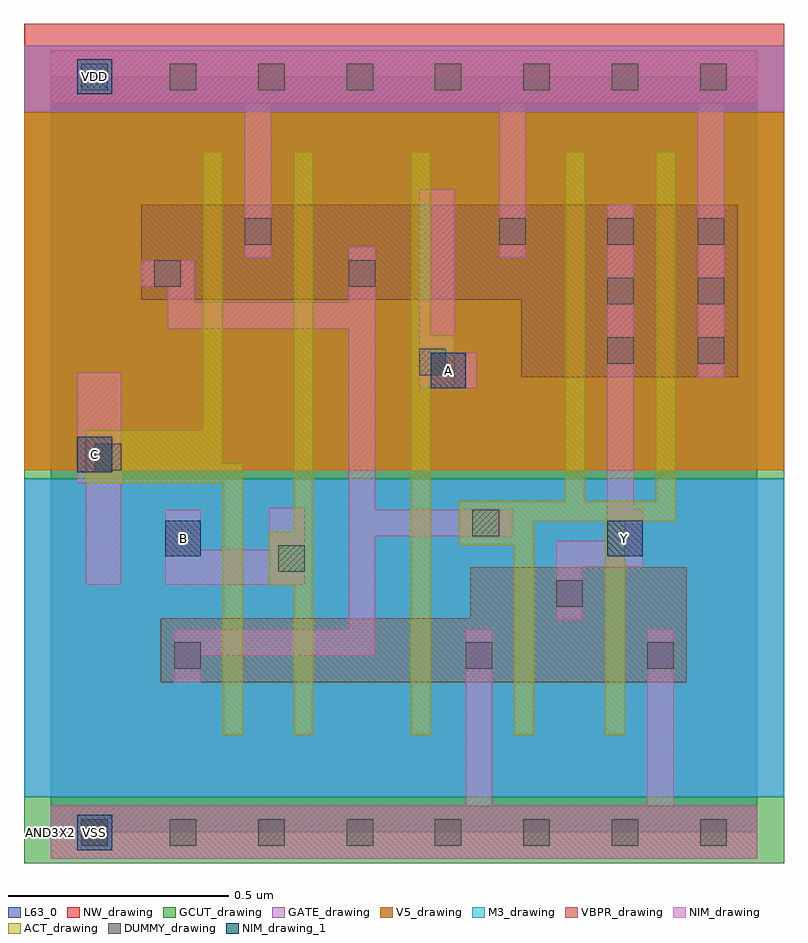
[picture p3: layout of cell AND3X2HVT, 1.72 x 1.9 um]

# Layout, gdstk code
import gdstk
lib = gdstk.Library(unit=1e-6, precision=5e-10)
def R(c, l, rs):  # rectangles x0, y0, x1, y1
    for r in rs: c.add(gdstk.rectangle(r[:2], r[2:], *l))
def A(c, l, x, y, w, h, nx, ny, dx, dy):  # array of equal rectangles
    R(c, l, [(x+i*dx, y+j*dy, x+i*dx+w, y+j*dy+h) for i in range(nx) for j in range(ny)])
def P(c, l, *ps):  # polygons
    for p in ps: c.add(gdstk.Polygon(p, *l))
VBPR_drawing = (1, 0)
NW_drawing = (2, 0)
ACT_drawing = (3, 0)
GATE_drawing = (4, 0)
GCUT_drawing = (5, 0)
DUMMY_drawing = (6, 0)
NIM_drawing = (7, 0)
NIM_drawing_1 = (7, 1)
M3_drawing = (18, 0)
V5_drawing = (23, 0)
L63_0 = (63, 0)

and3x2hvt = lib.new_cell('AND3X2HVT')
R(and3x2hvt, VBPR_drawing, [(0,-0.06,1.6,0.06), (0,1.65,1.6,1.77)])
P(and3x2hvt, VBPR_drawing, [(0.205,1.42),(1.555,1.42),(1.555,1.03),(1.065,1.03),(1.065,1.205),(0.205,1.205)],
  [(0.95,0.6),(1.44,0.6),(1.44,0.34),(0.25,0.34),(0.25,0.485),(0.95,0.485)])
R(and3x2hvt, NW_drawing, [(-0.06,0.82,1.66,1.83)])
P(and3x2hvt, ACT_drawing, [(0.345,1.54),(0.39,1.54),(0.39,0.835),(0.435,0.835),(0.435,0.22),(0.39,0.22),(0.39,0.79),(0.08,0.79),(0.08,0.91),(0.345,0.91)],
  [(0.55,1.54),(0.595,1.54),(0.595,0.22),(0.55,0.22),(0.55,0.56),(0.495,0.56),(0.495,0.68),(0.55,0.68)],
  [(0.815,1.54),(0.86,1.54),(0.86,1.125),(0.915,1.125),(0.915,1.005),(0.86,1.005),(0.86,0.22),(0.815,0.22)],
  [(1.165,1.54),(1.21,1.54),(1.21,0.75),(1.37,0.75),(1.37,1.54),(1.415,1.54),(1.415,0.705),(1.3,0.705),(1.3,0.22),(1.255,0.22),(1.255,0.705),(1.095,0.705),(1.095,0.22),(1.05,0.22),(1.05,0.65),(0.925,0.65),(0.925,0.75),(1.165,0.75)])
R(and3x2hvt, GATE_drawing, [(-0.06,0.08,1.66,0.8), (-0.06,1.63,1.66,1.78)])
R(and3x2hvt, GCUT_drawing, [(-0.06,-0.07,1.66,0.08), (-0.06,0.8,1.66,1.63)])
A(and3x2hvt, DUMMY_drawing, 0.07, -0.03, 0.06, 0.06, 8, 2, 0.2, 1.71)
A(and3x2hvt, DUMMY_drawing, 1.26, 1.06, 0.06, 0.06, 1, 3, 0, 0.135)
A(and3x2hvt, DUMMY_drawing, 1.465, 1.06, 0.06, 0.06, 1, 3, 0, 0.135)
R(and3x2hvt, DUMMY_drawing, [(0.28,0.37,0.34,0.43), (0.94,0.37,1,0.43), (1.35,0.37,1.41,0.43), (1.145,0.51,1.205,0.57), (0.515,0.59,0.575,0.65), (0.955,0.67,1.015,0.73), (0.1,0.82,0.16,0.88), (0.835,1.035,0.895,1.095), (0.235,1.235,0.295,1.295), (0.675,1.235,0.735,1.295), (0.44,1.33,0.5,1.39), (1.015,1.33,1.075,1.39)])
R(and3x2hvt, NIM_drawing, [(0.94,0.06,1,0.46), (1.35,0.06,1.41,0.46), (1.465,1.03,1.525,1.65), (0.44,1.3,0.5,1.65), (1.015,1.3,1.075,1.65)])
P(and3x2hvt, NIM_drawing, [(0.205,1.295),(0.325,1.295),(0.325,1.2),(0.675,1.2),(0.675,1.325),(0.735,1.325),(0.735,0.73),(1.045,0.73),(1.045,0.67),(0.735,0.67),(0.735,0.4),(0.34,0.4),(0.34,0.34),(0.28,0.34),(0.28,0.46),(0.675,0.46),(0.675,1.14),(0.265,1.14),(0.265,1.235),(0.205,1.235)],
  [(1.26,1.42),(1.32,1.42),(1.32,0.73),(1.34,0.73),(1.34,0.6),(1.205,0.6),(1.205,0.48),(1.145,0.48),(1.145,0.66),(1.26,0.66)],
  [(0.06,1.04),(0.16,1.04),(0.16,0.56),(0.08,0.56),(0.08,0.79),(0.06,0.79)],
  [(0.26,0.73),(0.34,0.73),(0.34,0.64),(0.495,0.64),(0.495,0.735),(0.575,0.735),(0.575,0.56),(0.26,0.56)],
  [(0.835,1.455),(0.915,1.455),(0.915,1.085),(0.965,1.085),(0.965,1.005),(0.835,1.005)])
A(and3x2hvt, NIM_drawing_1, 0.06, -0.04, 0.08, 0.08, 1, 3, 0, 0.855)
R(and3x2hvt, NIM_drawing_1, [(0.26,0.625,0.34,0.705), (1.26,0.625,1.34,0.705), (0.86,1.005,0.94,1.085)])
R(and3x2hvt, M3_drawing, [(-0.06,0.08,1.66,0.8)])
R(and3x2hvt, V5_drawing, [(-0.06,0.82,1.66,1.63)])
R(and3x2hvt, L63_0, [(0,0,1.6,1.71)])
and3x2hvt.add(gdstk.FlexPath([(0,0),(1.6,0)], 0.12, ends="flush", simple_path=True, layer=7, datatype=0))  # NIM_drawing
and3x2hvt.add(gdstk.FlexPath([(0,1.71),(1.6,1.71)], 0.12, ends="flush", simple_path=True, layer=7, datatype=0))  # NIM_drawing
and3x2hvt.add(gdstk.Label('Y', (1.3,0.665), layer=7, texttype=1))
and3x2hvt.add(gdstk.Label('A', (0.9,1.045), layer=7, texttype=1))
and3x2hvt.add(gdstk.Label('B', (0.3,0.665), layer=7, texttype=1))
and3x2hvt.add(gdstk.Label('C', (0.1,0.855), layer=7, texttype=1))
and3x2hvt.add(gdstk.Label('VDD', (0.1,1.71), layer=7, texttype=1))
and3x2hvt.add(gdstk.Label('VSS', (0.1,0), layer=7, texttype=1))
and3x2hvt.add(gdstk.Label('VSS', (0.1,0), layer=7, texttype=1))
and3x2hvt.add(gdstk.Label('VDD', (0.1,1.71), layer=7, texttype=1))
and3x2hvt.add(gdstk.Label('C', (0.1,0.855), layer=7, texttype=1))
and3x2hvt.add(gdstk.Label('B', (0.3,0.665), layer=7, texttype=1))
and3x2hvt.add(gdstk.Label('A', (0.9,1.045), layer=7, texttype=1))
and3x2hvt.add(gdstk.Label('Y', (1.3,0.665), layer=7, texttype=1))
and3x2hvt.add(gdstk.Label('AND3X2', (0,0), layer=63, texttype=0))

lib.write_gds('AND3X2HVT.gds')
